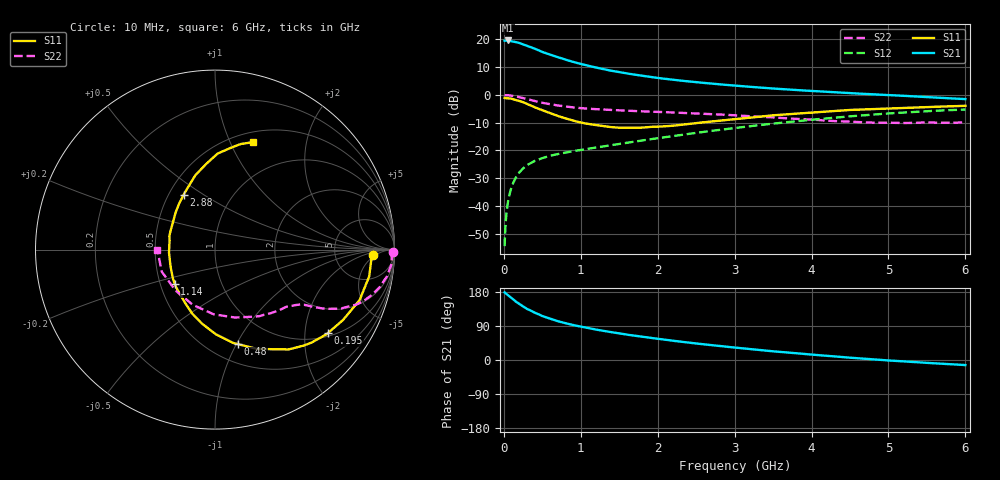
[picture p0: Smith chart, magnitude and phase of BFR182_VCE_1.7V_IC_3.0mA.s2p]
! Infineon Technologies  Discrete & RF Semiconductors
! BFR182
! VCE =  1.7 V,  IC =  3.0 mA
! Common Emitter S-Parameters:  Nov 2015
# GHz  S  MA  R  50
!  f  S11  S21  S12  S22
! GHz  MAG  ANG  MAG  ANG  MAG  ANG  MAG  ANG
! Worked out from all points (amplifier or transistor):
!   210 points, 10 MHz to 6 GHz, reference 50 ohm
!   highest |S21| = 19.6 dB at 50 MHz (marker M1)
!   |S21| within 3 dB of that: start of sweep to 406.7 MHz
!   unconditionally stable (mu >= 1): 1.271 GHz to 3.014 GHz
!   at 185 MHz: K = 0.24, MSG = 23.7 dB, |S12| = -28.5 dB
!   at 1.52 GHz: K = 1.05, MAG = 11.4 dB, |S12| = -17.6 dB
!   at 6 GHz: K = 0.90, MSG = 1.9 dB, |S12| = -5.3 dB
!   S11 on the Smith chart (normalised r, x): 10 MHz: 15, -4; 195 MHz: 1.10, -2.64; 480 MHz: 0.68, -1.02; 1.14 GHz: 0.60, -0.25; 2.88 GHz: 0.60, +0.41; 6 GHz: 0.61, +1.23
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0.01  0.8802 -2.1  9.413 178.5  0.0019 84.4  0.9939 -0.8
0.025  0.8718 -4.9  9.441 175.7  0.0053 87.6  0.9853 -2.3
0.05  0.872 -9.8  9.522 171.7  0.0111 84.5  0.9879 -4.5
0.095  0.8544 -18.2  9.238 164.6  0.0209 79.3  0.972 -8.3
0.15  0.814 -28.8  8.989 155.0  0.0314 74.4  0.9434 -12.6
0.195  0.7829 -36.3  8.63 148.7  0.0392 70.7  0.9139 -15.6
0.3  0.6911 -53.6  7.659 135.0  0.0543 63.5  0.8436 -21.3
0.4  0.6014 -67.0  6.805 125.0  0.0647 58.8  0.7759 -25.0
0.48  0.543 -76.2  6.086 118.0  0.0712 56.5  0.7308 -26.8
0.5  0.5309 -78.8  5.922 116.0  0.0728 56.0  0.7197 -27.3
0.6  0.4714 -89.5  5.292 109.0  0.0802 54.2  0.6799 -28.8
0.7  0.4187 -100.0  4.774 102.5  0.0861 53.2  0.6453 -29.9
0.9  0.3454 -117.9  3.921 92.1  0.0971 53.0  0.5944 -31.4
1.02  0.3143 -129.0  3.543 87.2  0.1031 53.4  0.5742 -32.3
1.14  0.294 -139.7  3.238 82.5  0.1099 53.8  0.5591 -33.3
1.6  0.257 -176.1  2.428 67.0  0.1375 55.8  0.52 -37.5
2.02  0.2691 156.7  2.002 55.5  0.1677 56.9  0.4939 -42.8
2.88  0.3515 119.8  1.516 35.4  0.2419 55.1  0.4392 -57.9
3.1  0.3768 113.8  1.432 30.9  0.2631 53.7  0.4211 -62.9
4.1  0.4907 94.2  1.155 12.6  0.3672 44.9  0.3512 -95.0
5.1  0.5751 81.0  0.978 -2.4  0.4724 32.3  0.3134 -138.8
6  0.6357 70.4  0.839 -13.4  0.5458 18.7  0.3208 -179.7
